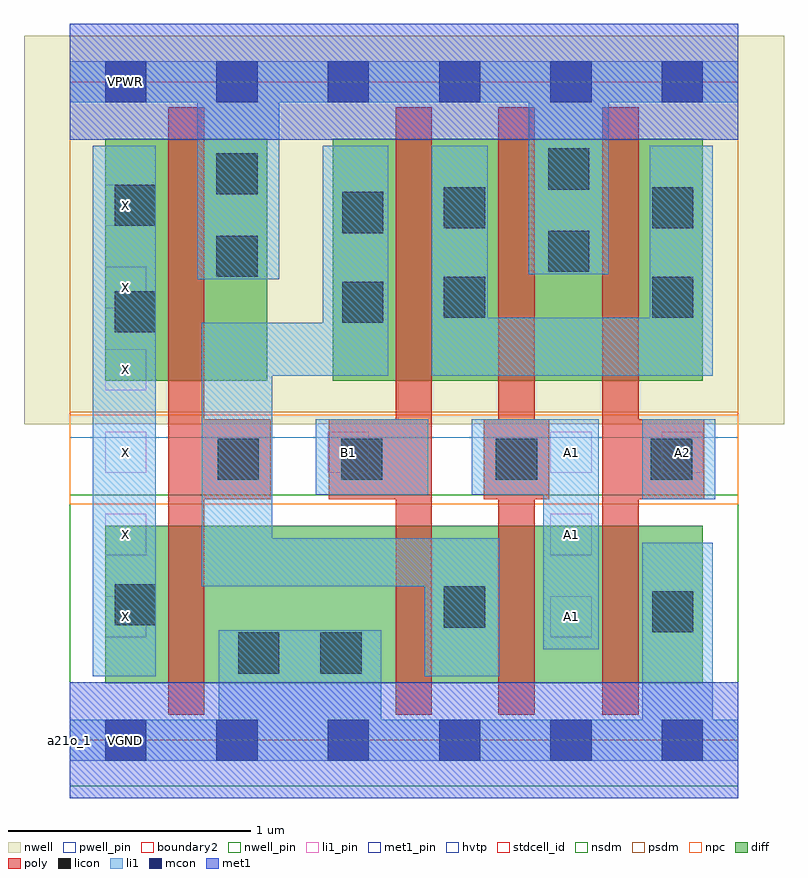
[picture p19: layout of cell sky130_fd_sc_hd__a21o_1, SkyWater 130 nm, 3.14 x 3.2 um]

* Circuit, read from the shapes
.subckt sky130_fd_sc_hd__a21o_1 A1 A2 B1 VGND VNB VPB VPWR X
XM1 VGND n1 X VNB sky130_fd_pr__nfet_01v8 w=0.65 l=0.15
XM2 n1 B1 VGND VNB sky130_fd_pr__nfet_01v8 w=0.65 l=0.15
XM3 n2 A1 n1 VNB sky130_fd_pr__nfet_01v8 w=0.65 l=0.15
XM4 VGND A2 n2 VNB sky130_fd_pr__nfet_01v8 w=0.65 l=0.15
XM5 VPWR n1 X VPB sky130_fd_pr__pfet_01v8_hvt w=1 l=0.15
XM6 n3 B1 n1 VPB sky130_fd_pr__pfet_01v8_hvt w=1 l=0.15
XM7 VPWR A1 n3 VPB sky130_fd_pr__pfet_01v8_hvt w=1 l=0.15
XM8 n3 A2 VPWR VPB sky130_fd_pr__pfet_01v8_hvt w=1 l=0.15
.ends

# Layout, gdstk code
import gdstk
lib = gdstk.Library(unit=1e-6, precision=1e-09)
def R(c, l, rs):  # rectangles x0, y0, x1, y1
    for r in rs: c.add(gdstk.rectangle(r[:2], r[2:], *l))
def A(c, l, x, y, w, h, nx, ny, dx, dy):  # array of equal rectangles
    R(c, l, [(x+i*dx, y+j*dy, x+i*dx+w, y+j*dy+h) for i in range(nx) for j in range(ny)])
def P(c, l, *ps):  # polygons
    for p in ps: c.add(gdstk.Polygon(p, *l))
nwell_pin = (64, 16)
nwell = (64, 20)
diff = (65, 20)
poly = (66, 20)
licon = (66, 44)
li1_pin = (67, 16)
li1 = (67, 20)
mcon = (67, 44)
met1_pin = (68, 16)
met1 = (68, 20)
hvtp = (78, 44)
stdcell_id = (81, 4)
nsdm = (93, 44)
psdm = (94, 20)
npc = (95, 20)
pwell_pin = (122, 16)
boundary2 = (236, 0)

sky130_fd_sc_hd__a21o_1 = lib.new_cell('sky130_fd_sc_hd__a21o_1')
R(sky130_fd_sc_hd__a21o_1, nwell_pin, [(0.145,2.635,0.315,2.805)])
R(sky130_fd_sc_hd__a21o_1, nwell, [(-0.19,1.305,2.95,2.91)])
R(sky130_fd_sc_hd__a21o_1, diff, [(0.145,0.235,2.615,0.885), (0.145,1.485,0.815,2.485), (1.085,1.485,2.615,2.485)])
P(sky130_fd_sc_hd__a21o_1, poly, [(0.83,1.325),(0.555,1.325),(0.555,2.615),(0.405,2.615),(0.405,0.105),(0.555,0.105),(0.555,0.995),(0.83,0.995)],
  [(1.98,1.325),(1.92,1.325),(1.92,2.615),(1.77,2.615),(1.77,1.325),(1.71,1.325),(1.71,0.995),(1.77,0.995),(1.77,0.105),(1.92,0.105),(1.92,0.995),(1.98,0.995)],
  [(2.62,1.325),(2.35,1.325),(2.35,2.615),(2.2,2.615),(2.2,0.105),(2.35,0.105),(2.35,0.995),(2.62,0.995)],
  [(1.495,2.615),(1.345,2.615),(1.345,1.325),(1.07,1.325),(1.07,0.995),(1.345,0.995),(1.345,0.105),(1.495,0.105)])
A(sky130_fd_sc_hd__a21o_1, licon, 1.12, 1.075, 0.17, 0.17, 3, 1, 0.64, 0)
R(sky130_fd_sc_hd__a21o_1, licon, [(0.695,0.275,0.865,0.445), (1.035,0.275,1.205,0.445), (2.405,0.445,2.575,0.615), (1.545,0.465,1.715,0.635), (0.185,0.475,0.355,0.645), (0.61,1.075,0.78,1.245), (0.185,1.685,0.355,1.855), (1.125,1.725,1.295,1.895), (1.545,1.745,1.715,1.915), (2.405,1.745,2.575,1.915), (0.605,1.915,0.775,2.085), (1.975,1.935,2.145,2.105), (1.125,2.095,1.295,2.265), (1.545,2.115,1.715,2.285), (2.405,2.115,2.575,2.285), (0.185,2.125,0.355,2.295), (0.605,2.255,0.775,2.425), (1.975,2.275,2.145,2.445)])
A(sky130_fd_sc_hd__a21o_1, li1_pin, 0.145, 1.105, 0.17, 0.17, 3, 1, 0.92, 0)
A(sky130_fd_sc_hd__a21o_1, li1_pin, 0.145, 1.445, 0.17, 0.17, 1, 3, 0, 0.34)
R(sky130_fd_sc_hd__a21o_1, li1_pin, [(0.145,0.425,0.315,0.595), (1.985,0.425,2.155,0.595), (0.145,0.765,0.315,0.935), (1.985,0.765,2.155,0.935), (2.445,1.105,2.615,1.275)])
R(sky130_fd_sc_hd__a21o_1, li1, [(0.095,0.265,0.355,2.455), (2.365,0.995,2.665,1.325), (1.015,1.015,1.48,1.325)])
P(sky130_fd_sc_hd__a21o_1, li1, [(2.76,2.805),(0,2.805),(0,2.635),(0.525,2.635),(0.525,1.905),(0.865,1.905),(0.865,2.635),(1.895,2.635),(1.895,1.925),(2.225,1.925),(2.225,2.635),(2.76,2.635)],
  [(2.76,0.085),(2.655,0.085),(2.655,0.815),(2.365,0.815),(2.365,0.085),(1.285,0.085),(1.285,0.455),(0.615,0.455),(0.615,0.085),(0,0.085),(0,-0.085),(2.76,-0.085)],
  [(2.185,1.325),(1.66,1.325),(1.66,1.015),(1.955,1.015),(1.955,0.375),(2.185,0.375)],
  [(2.655,2.455),(2.395,2.455),(2.395,1.745),(1.725,1.745),(1.725,2.455),(1.495,2.455),(1.495,1.505),(2.655,1.505)],
  [(1.775,0.835),(0.835,0.835),(0.835,1.505),(1.315,1.505),(1.315,2.455),(1.045,2.455),(1.045,1.725),(0.545,1.725),(0.545,0.635),(1.465,0.635),(1.465,0.265),(1.775,0.265)])
A(sky130_fd_sc_hd__a21o_1, mcon, 0.145, -0.085, 0.17, 0.17, 6, 2, 0.46, 2.72)
R(sky130_fd_sc_hd__a21o_1, met1_pin, [(0.145,-0.085,0.315,0.085), (0.145,2.635,0.315,2.805)])
R(sky130_fd_sc_hd__a21o_1, hvtp, [(0,1.25,2.76,2.72)])
R(sky130_fd_sc_hd__a21o_1, stdcell_id, [(0,0,2.76,2.72)])
R(sky130_fd_sc_hd__a21o_1, nsdm, [(0,-0.19,2.76,1.015)])
R(sky130_fd_sc_hd__a21o_1, psdm, [(0,1.355,2.76,2.91)])
R(sky130_fd_sc_hd__a21o_1, npc, [(0,0.975,2.76,1.345)])
R(sky130_fd_sc_hd__a21o_1, pwell_pin, [(0.145,-0.085,0.315,0.085)])
R(sky130_fd_sc_hd__a21o_1, boundary2, [(0,0,2.76,2.72)])
sky130_fd_sc_hd__a21o_1.add(gdstk.FlexPath([(0,0),(2.76,0)], 0.48, ends="flush", simple_path=True, layer=68, datatype=20))  # met1
sky130_fd_sc_hd__a21o_1.add(gdstk.FlexPath([(0,2.72),(2.76,2.72)], 0.48, ends="flush", simple_path=True, layer=68, datatype=20))  # met1
sky130_fd_sc_hd__a21o_1.add(gdstk.Label('A2', (2.53,1.19), layer=67, texttype=5))
sky130_fd_sc_hd__a21o_1.add(gdstk.Label('A1', (2.07,0.51), layer=67, texttype=5))
sky130_fd_sc_hd__a21o_1.add(gdstk.Label('A1', (2.07,0.85), layer=67, texttype=5))
sky130_fd_sc_hd__a21o_1.add(gdstk.Label('A1', (2.07,1.19), layer=67, texttype=5))
sky130_fd_sc_hd__a21o_1.add(gdstk.Label('B1', (1.15,1.19), layer=67, texttype=5))
sky130_fd_sc_hd__a21o_1.add(gdstk.Label('X', (0.23,0.51), layer=67, texttype=5))
sky130_fd_sc_hd__a21o_1.add(gdstk.Label('X', (0.23,2.21), layer=67, texttype=5))
sky130_fd_sc_hd__a21o_1.add(gdstk.Label('X', (0.23,1.87), layer=67, texttype=5))
sky130_fd_sc_hd__a21o_1.add(gdstk.Label('X', (0.23,1.53), layer=67, texttype=5))
sky130_fd_sc_hd__a21o_1.add(gdstk.Label('X', (0.23,1.19), layer=67, texttype=5))
sky130_fd_sc_hd__a21o_1.add(gdstk.Label('X', (0.23,0.85), layer=67, texttype=5))
sky130_fd_sc_hd__a21o_1.add(gdstk.Label('VPWR', (0.23,2.72), layer=68, texttype=5))
sky130_fd_sc_hd__a21o_1.add(gdstk.Label('VGND', (0.23,0), layer=68, texttype=5))
sky130_fd_sc_hd__a21o_1.add(gdstk.Label('VPB', (0.23,2.72), layer=64, texttype=5))
sky130_fd_sc_hd__a21o_1.add(gdstk.Label('VNB', (0.23,0), layer=64, texttype=59))
sky130_fd_sc_hd__a21o_1.add(gdstk.Label('a21o_1', (0,0), layer=83, texttype=44))

lib.write_gds('sky130_fd_sc_hd__a21o_1.gds')
